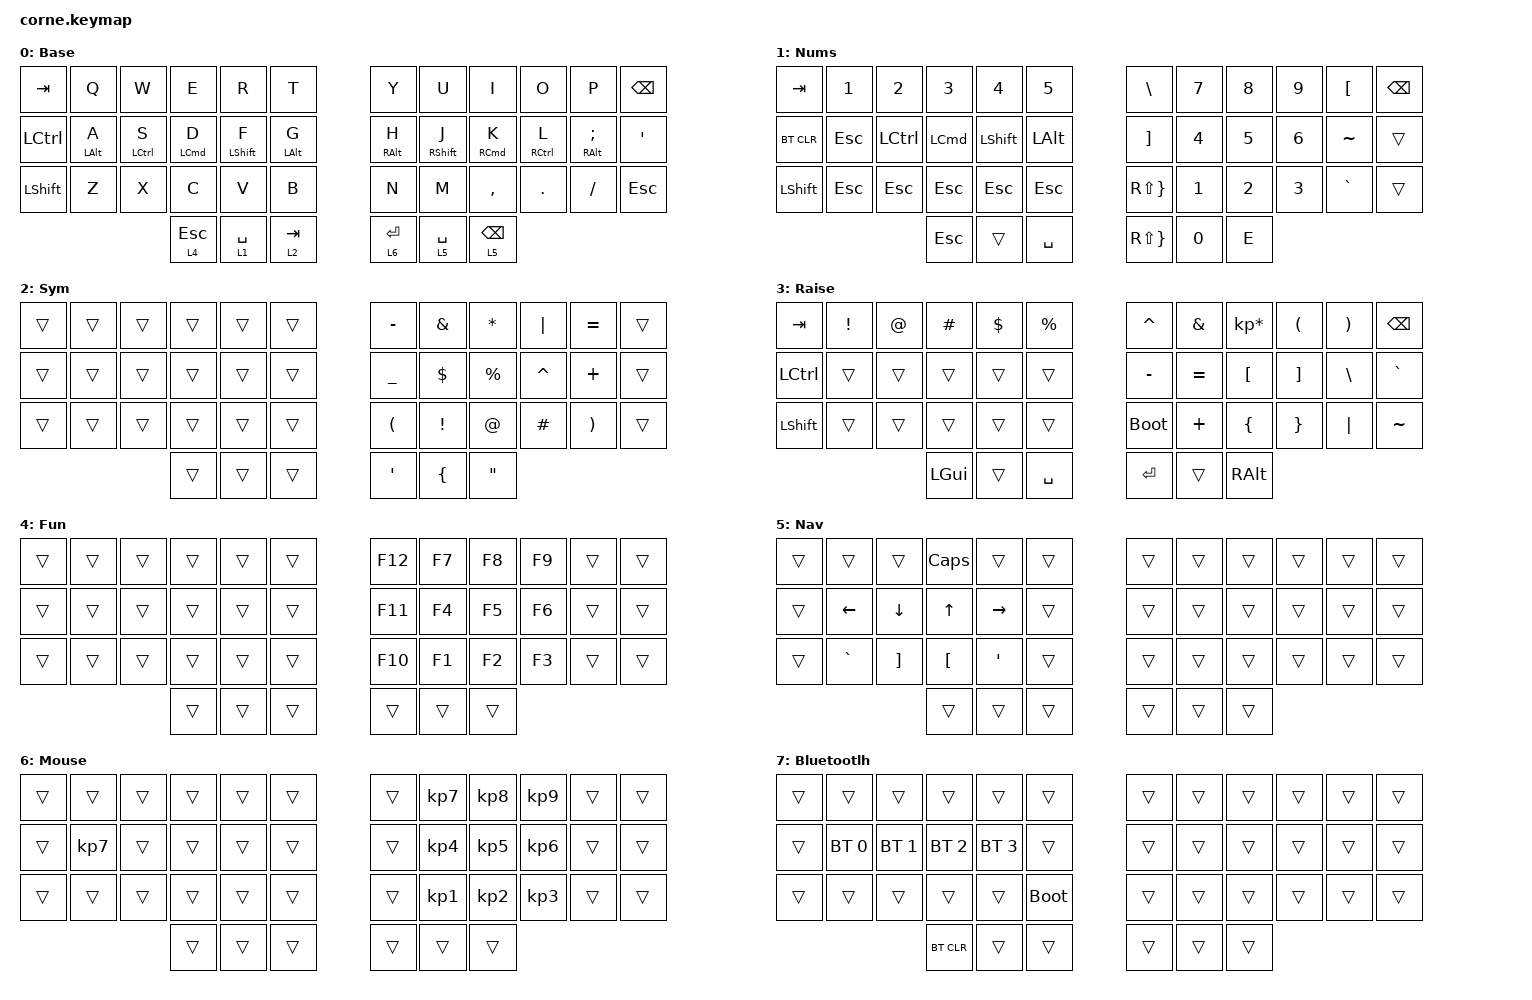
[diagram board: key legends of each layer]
/*
 * Copyright (c) 2020 The ZMK Contributors
 *
 * SPDX-License-Identifier: MIT
 */

#include <behaviors.dtsi>
#include <dt-bindings/zmk/bt.h>
#include <dt-bindings/zmk/keys.h>

/ {
    behaviors {
        hml: homewrow_mods_left {
            compatible = "zmk,behavior-hold-tap";
            label = "HOMEROW_MODS_LEFT_HAND";
            bindings = <&kp>, <&kp>;

            #binding-cells = <2>;
            tapping-term-ms = <280>;
            hold-trigger-key-positions = <31 6 18 30 41 40 39 19 7 8 20 32 33 34 22 21 9 10>;
            flavor = "balanced";
            quick-tap-ms = <175>;
            require-prior-idle-ms = <150>;
            hold-trigger-on-release;
        };

        hmr: homewrow_mods_right {
            compatible = "zmk,behavior-hold-tap";
            label = "HOMEROW_MODS_RIGHT_HAND";
            bindings = <&kp>, <&kp>;

            #binding-cells = <2>;
            tapping-term-ms = <280>;
            hold-trigger-key-positions = <38 37 36 29 28 27 26 25 13 14 16 15 17 5 4 3 2 1>;
            flavor = "balanced";
            quick-tap-ms = <175>;
            require-prior-idle-ms = <150>;
            hold-trigger-on-release;
        };
    };

    keymap {
        compatible = "zmk,keymap";

        default_layer {
            // -----------------------------------------------------------------------------------------
            // |  TAB |  Q  |  W  |  E  |  R  |  T  |   |  Y  |  U   |  I  |  O  |  P  | BKSP |
            // | CTRL |  A  |  S  |  D  |  F  |  G  |   |  H  |  J   |  K  |  L  |  ;  |  '   |
            // | SHFT |  Z  |  X  |  C  |  V  |  B  |   |  N  |  M   |  ,  |  .  |  /  | ESC  |
            //                    | GUI | LWR | SPC |   | ENT | RSE  | ALT |

            label = "Base";
            bindings = <
&kp TAB    &kp Q            &kp W         &kp E                &kp R              &kp T              &kp Y             &kp U               &kp I                 &kp O         &kp P                &kp BSPC
&kp LCTRL  &hml LEFT_ALT A  &hml LCTRL S  &hml LEFT_COMMAND D  &hml LEFT_SHIFT F  &hml LEFT_ALT G    &hmr RIGHT_ALT H  &hmr RIGHT_SHIFT J  &hmr RIGHT_COMMAND K  &hmr RCTRL L  &hmr RIGHT_ALT SEMI  &kp SQT
&kp LSHFT  &kp Z            &kp X         &kp C                &kp V              &kp B              &kp N             &kp M               &kp COMMA             &kp DOT       &kp FSLH             &kp ESC
                                          &lt 4 ESCAPE         &lt 1 SPACE        &lt 2 TAB          &lt 6 ENTER       &lt 5 SPACE         &lt 5 BACKSPACE
            >;
        };

        nums_layer {
            // -----------------------------------------------------------------------------------------
            // |  TAB |  1  |  2  |  3  |  4  |  5  |   |  6  |  7  |  8  |  9  |  0  | BKSP |
            // | BTCLR| BT1 | BT2 | BT3 | BT4 | BT5 |   | LFT | DWN |  UP | RGT |     |      |
            // | SHFT |     |     |     |     |     |   |     |     |     |     |     |      |
            //                    |BTCLR|     | SPC |   | ENT |     | ALT |

            label = "Nums";
            bindings = <
&kp TAB     &kp N1      &kp N2      &kp N3            &kp N4          &kp N5          &kp BACKSLASH        &kp N7        &kp N8        &kp N9        &kp LEFT_BRACKET  &kp BSPC
&bt BT_CLR  &kp ESCAPE  &kp LCTRL   &kp LEFT_COMMAND  &kp LEFT_SHIFT  &kp LEFT_ALT    &kp RIGHT_BRACKET    &kp NUMBER_4  &kp N5        &kp NUMBER_6  &kp TILDE         &trans
&kp LSHFT   &kp ESCAPE  &kp ESCAPE  &kp ESCAPE        &kp ESCAPE      &kp ESCAPE      &kp RS(RIGHT_BRACE)  &kp NUMBER_1  &kp NUMBER_2  &kp NUMBER_3  &kp GRAVE         &trans
                                    &kp ESCAPE        &trans          &kp SPACE       &kp RS(RIGHT_BRACE)  &kp N0        &kp E
            >;
        };

        sym_layer {
            bindings = <
&trans  &trans  &trans  &trans  &trans  &trans    &kp MINUS             &kp AMPERSAND  &kp ASTRK          &kp PIPE   &kp EQUAL              &trans
&trans  &trans  &trans  &trans  &trans  &trans    &kp UNDER             &kp DOLLAR     &kp PERCENT        &kp CARET  &kp PLUS               &trans
&trans  &trans  &trans  &trans  &trans  &trans    &kp LEFT_PARENTHESIS  &kp EXCL       &kp AT_SIGN        &kp HASH   &kp RIGHT_PARENTHESIS  &trans
                        &trans  &trans  &trans    &kp SINGLE_QUOTE      &kp LBRC       &kp DOUBLE_QUOTES
            >;

            label = "Sym";
        };

        raise_layer {
            // -----------------------------------------------------------------------------------------
            // |  TAB |  !  |  @  |  #  |  $  |  %  |   |  ^  |  &  |  *  |  (  |  )  | BKSP |
            // | CTRL |     |     |     |     |     |   |  -  |  =  |  [  |  ]  |  \  |  `   |
            // | SHFT |     |     |     |     |     |   |  _  |  +  |  {  |  }  | "|" |  ~   |
            //                    | GUI |     | SPC |   | ENT |     | ALT |

            label = "Raise";
            bindings = <
&kp TAB    &kp EXCL  &kp AT  &kp HASH  &kp DLLR  &kp PRCNT    &kp CARET    &kp AMPS   &kp KP_MULTIPLY  &kp LPAR  &kp RPAR  &kp BSPC
&kp LCTRL  &trans    &trans  &trans    &trans    &trans       &kp MINUS    &kp EQUAL  &kp LBKT         &kp RBKT  &kp BSLH  &kp GRAVE
&kp LSHFT  &trans    &trans  &trans    &trans    &trans       &bootloader  &kp PLUS   &kp LBRC         &kp RBRC  &kp PIPE  &kp TILDE
                             &kp LGUI  &trans    &kp SPACE    &kp RET      &trans     &kp RALT
            >;
        };

        fun_layer {
            bindings = <
&trans  &trans  &trans  &trans  &trans  &trans    &kp F12  &kp F7  &kp F8  &kp F9  &trans  &trans
&trans  &trans  &trans  &trans  &trans  &trans    &kp F11  &kp F4  &kp F5  &kp F6  &trans  &trans
&trans  &trans  &trans  &trans  &trans  &trans    &kp F10  &kp F1  &kp F2  &kp F3  &trans  &trans
                        &trans  &trans  &trans    &trans   &trans  &trans
            >;

            label = "Fun";
        };

        nav_layer {
            bindings = <
&trans  &trans          &trans             &kp CAPS          &trans     &trans    &trans  &trans  &trans  &trans  &trans  &trans
&trans  &kp LEFT_ARROW  &kp DOWN_ARROW     &kp UP_ARROW      &kp RIGHT  &trans    &trans  &trans  &trans  &trans  &trans  &trans
&trans  &kp GRAVE       &kp RIGHT_BRACKET  &kp LEFT_BRACKET  &kp SQT    &trans    &trans  &trans  &trans  &trans  &trans  &trans
                                           &trans            &trans     &trans    &trans  &trans  &trans
            >;

            label = "Nav";
        };

        mouse_layer {
            bindings = <
&trans  &trans           &trans  &trans  &trans  &trans    &trans  &kp KP_NUMBER_7  &kp KP_NUMBER_8  &kp KP_NUMBER_9  &trans  &trans
&trans  &kp KP_NUMBER_7  &trans  &trans  &trans  &trans    &trans  &kp KP_NUMBER_4  &kp KP_NUMBER_5  &kp KP_NUMBER_6  &trans  &trans
&trans  &trans           &trans  &trans  &trans  &trans    &trans  &kp KP_NUMBER_1  &kp KP_NUMBER_2  &kp KP_NUMBER_3  &trans  &trans
                                 &trans  &trans  &trans    &trans  &trans           &trans
            >;

            label = "Mouse";
        };

        bluetooth_layer {
            bindings = <
&trans  &trans        &trans        &trans        &trans        &trans         &trans  &trans  &trans  &trans  &trans  &trans
&trans  &bt BT_SEL 0  &bt BT_SEL 1  &bt BT_SEL 2  &bt BT_SEL 3  &trans         &trans  &trans  &trans  &trans  &trans  &trans
&trans  &trans        &trans        &trans        &trans        &bootloader    &trans  &trans  &trans  &trans  &trans  &trans
                                    &bt BT_CLR    &trans        &trans         &trans  &trans  &trans
            >;

            label = "Bluetootlh";
        };
    };

    conditional_layers {
        compatible = "zmk,conditional-layers";

        bluetooth {
            if-layers = <2 1>;
            then-layer = <7>;
        };
    };
};
